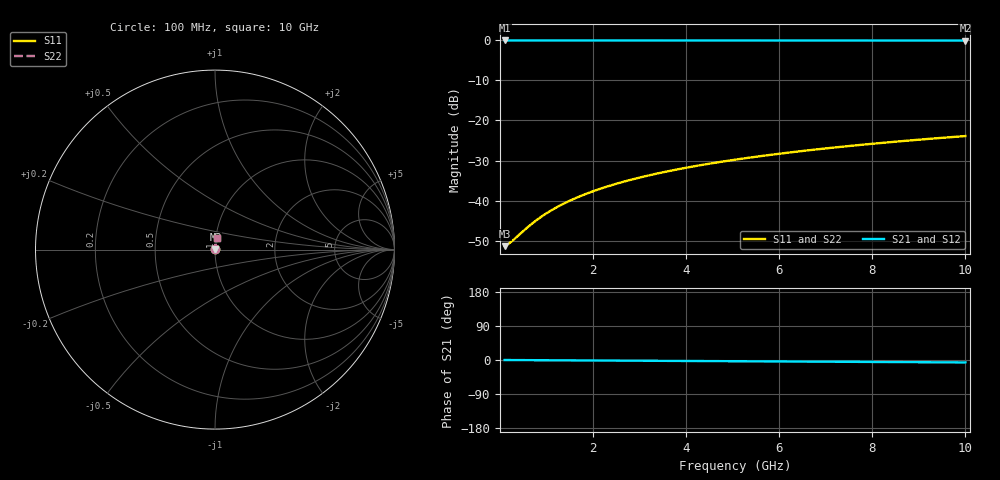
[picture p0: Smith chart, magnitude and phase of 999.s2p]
# Hz S RI R 50.00
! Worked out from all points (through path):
!   100 points, 100 MHz to 10 GHz, reference 50 ohm
!   highest |S21| = -0.02 dB at 100 MHz (marker M1); lowest = 0.0 dB at 10 GHz (marker M2)
!   lowest |S11| = -51.4 dB at 100 MHz (marker M3), VSWR 1.01, Z = 50.3 + j0.0639 ohm
!   |S11| at or under -10 dB: start of sweep to end of sweep
!   |S22| runs from -51.4 to -23.9 dB; largest |S21 - S12| = 0
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1e8  0.00262 0.000636  0.9974 -0.00112  0.9974 -0.00112  0.00262 0.000636
2e8  0.00264 0.00127  0.9974 -0.00223  0.9974 -0.00223  0.00264 0.00127
3e8  0.00265 0.00191  0.9973 -0.00335  0.9973 -0.00335  0.00265 0.00191
5e8  0.00268 0.00318  0.9973 -0.00558  0.9973 -0.00558  0.00268 0.00318
7e8  0.00272 0.00445  0.9973 -0.00782  0.9973 -0.00782  0.00272 0.00445
8e8  0.00273 0.00508  0.9973 -0.00893  0.9973 -0.00893  0.00273 0.00508
1e9  0.00277 0.00635  0.9972 -0.0112  0.9972 -0.0112  0.00277 0.00635
1.2e9  0.00281 0.00762  0.9972 -0.0134  0.9972 -0.0134  0.00281 0.00762
1.4e9  0.00286 0.00889  0.9971 -0.0156  0.9971 -0.0156  0.00286 0.00889
1.6e9  0.00291 0.0102  0.9971 -0.0179  0.9971 -0.0179  0.00291 0.0102
1.8e9  0.00296 0.0114  0.997 -0.0201  0.997 -0.0201  0.00296 0.0114
2.1e9  0.00306 0.0133  0.9969 -0.0234  0.9969 -0.0234  0.00306 0.0133
2.5e9  0.0032 0.0159  0.9967 -0.0279  0.9967 -0.0279  0.0032 0.0159
2.9e9  0.00336 0.0184  0.9965 -0.0324  0.9965 -0.0324  0.00336 0.0184
3.4e9  0.0036 0.0216  0.9962 -0.038  0.9962 -0.038  0.0036 0.0216
4.2e9  0.00405 0.0266  0.9957 -0.0469  0.9957 -0.0469  0.00405 0.0266
5.1e9  0.00467 0.0323  0.995 -0.0569  0.995 -0.0569  0.00467 0.0323
5.9e9  0.00531 0.0374  0.9943 -0.0658  0.9943 -0.0658  0.00531 0.0374
6.7e9  0.00605 0.0424  0.9934 -0.0748  0.9934 -0.0748  0.00605 0.0424
7.5e9  0.00687 0.0475  0.9924 -0.0837  0.9924 -0.0837  0.00687 0.0475
8.4e9  0.00791 0.0531  0.9912 -0.0937  0.9912 -0.0937  0.00791 0.0531
1e10  0.01 0.0631  0.9887 -0.1115  0.9887 -0.1115  0.01 0.0631
